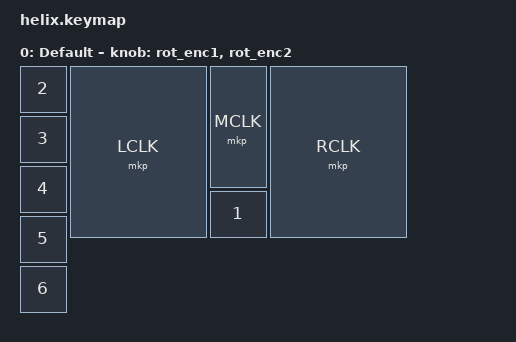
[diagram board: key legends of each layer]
#include <zephyr/dt-bindings/input/input-event-codes.h>

#include <behaviors.dtsi>
#include <behaviors/mouse_keys.dtsi>
#include <dt-bindings/zmk/keys.h>
#include <dt-bindings/zmk/mouse.h>
#include <dt-bindings/zmk/input_transform.h>

#include <input/processors/report_rate_limit.dtsi>

#define DEF 0

&zip_report_rate_limit {
    limit-ble-only;
};

/ {
    /* Invert Y (up/down) for the PAW3395 motion */
    xy_transf: xy_transf {
        compatible = "zmk,input-processor-transform";
        #input-processor-cells = <1>;
        type = <INPUT_EV_REL>;
        x-codes = <INPUT_REL_X>;
        y-codes = <INPUT_REL_Y>;
    };
    
    behaviors {
        /* Vertical scroll behavior */
        ec_s_v: mouse_scroll_v {
            compatible = "zmk,behavior-input-two-axis";
            #binding-cells = <1>;
            x-input-code = <INPUT_REL_HWHEEL>;
            y-input-code = <INPUT_REL_WHEEL>;
            time-to-max-speed-ms = <177>;
            acceleration-exponent = <0>;
        };

        /* Horizontal scroll behavior (same behavior, we just drive X axis) */
        ec_s_h: mouse_scroll_h {
            compatible = "zmk,behavior-input-two-axis";
            #binding-cells = <1>;
            x-input-code = <INPUT_REL_HWHEEL>;
            y-input-code = <INPUT_REL_WHEEL>;
            time-to-max-speed-ms = <177>;
            acceleration-exponent = <0>;
        };

        /* Encoder 1 drives vertical wheel */
        rot_enc1: rot_enc1 {
            compatible = "zmk,behavior-sensor-rotate";
            #sensor-binding-cells = <0>;
            bindings = <&ec_s_v MOVE_Y(-37)>, <&ec_s_v MOVE_Y(37)>;
            tap-ms = <65>;
        };

        /* Encoder 2 drives horizontal wheel */
        rot_enc2: rot_enc2 {
            compatible = "zmk,behavior-sensor-rotate";
            #sensor-binding-cells = <0>;
            bindings = <&ec_s_h MOVE_X(-37)>, <&ec_s_h MOVE_X(37)>;
            tap-ms = <65>;
        };
    };

    keymap {
        compatible = "zmk,keymap";

        default_layer {
            display-name = "Default";
            /* 1x9 positions */
            bindings = <
                &mkp LCLK      /* 0 */
                &mkp MCLK      /* 1 */
                &mkp RCLK      /* 2 */
                &kp N1         /* 3 DPI shift -> "1" */
                &kp N2         /* 4 Button5 -> "2" */
                &kp N3         /* 5 Button4 -> "3" */
                &kp N4         /* 6 Button3 -> "4" */
                &kp N5         /* 7 Button2 -> "5" */
                &kp N6         /* 8 Button1 -> "6" */
            >;

            /* Two encoders: first is enc1, second is enc2 (order from sensors = <&enc1 &enc2>) */
            sensor-bindings = <&rot_enc1 &rot_enc2>;
        };
    };
};
